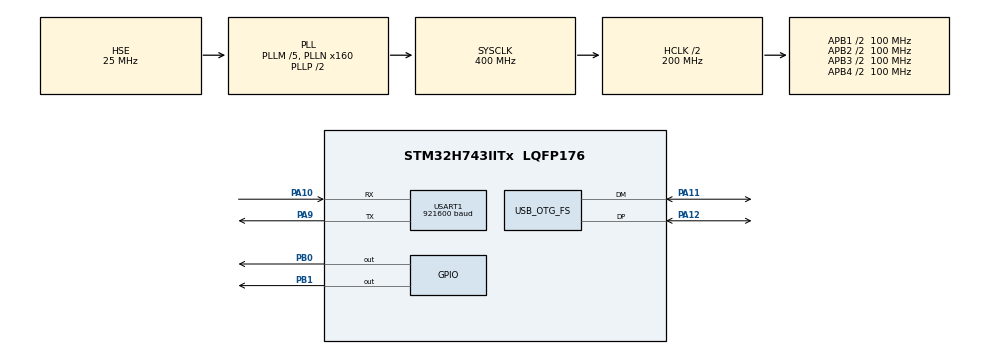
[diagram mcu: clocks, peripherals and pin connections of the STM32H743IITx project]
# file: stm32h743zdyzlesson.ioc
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CORTEX_M7.CPU_DCache=Enabled
CORTEX_M7.CPU_ICache=Enabled
CORTEX_M7.Enable_S-Cortex_Memory_Protection_Unit_Region1_Settings_S=__NULL
CORTEX_M7.Enable_S-Cortex_Memory_Protection_Unit_Region2_Settings_S=__NULL
CORTEX_M7.default_mode_Activation=1
Mcu.Family=STM32H7
Mcu.Name=STM32H743IITx
Mcu.Package=LQFP176
NVIC.OTG_FS_IRQn=true\:1\:0\:true\:false\:true\:true\:true\:true
NVIC.PriorityGroup=NVIC_PRIORITYGROUP_4
NVIC.USART1_IRQn=true\:0\:0\:false\:false\:true\:true\:true\:true
PA10.Mode=Asynchronous
PA10.Signal=USART1_RX
PA11.Mode=Device_Only
PA11.Signal=USB_OTG_FS_DM
PA12.Mode=Device_Only
PA12.Signal=USB_OTG_FS_DP
PA13\ (JTMS/SWDIO).Mode=Serial_Wire
PA13\ (JTMS/SWDIO).Signal=DEBUG_JTMS-SWDIO
PA14\ (JTCK/SWCLK).Mode=Serial_Wire
PA14\ (JTCK/SWCLK).Signal=DEBUG_JTCK-SWCLK
PA9.Mode=Asynchronous
PA9.Signal=USART1_TX
PB0.PinState=GPIO_PIN_SET
PB0.Signal=GPIO_Output
PB1.Signal=GPIO_Output
PH0-OSC_IN\ (PH0).Mode=HSE-External-Oscillator
PH0-OSC_IN\ (PH0).Signal=RCC_OSC_IN
PH1-OSC_OUT\ (PH1).Mode=HSE-External-Oscillator
PH1-OSC_OUT\ (PH1).Signal=RCC_OSC_OUT
ProjectManager.HeapSize=0x800
ProjectManager.StackSize=0x800
ProjectManager.TargetToolchain=MDK-ARM V5.32
RCC.ADCFreq_Value=50390625
RCC.APB1Freq_Value=100000000
RCC.APB2Freq_Value=100000000
RCC.APB3Freq_Value=100000000
RCC.APB4Freq_Value=100000000
RCC.CortexFreq_Value=400000000
RCC.D1PPRE=RCC_APB3_DIV2
RCC.D2PPRE1=RCC_APB1_DIV2
RCC.D2PPRE2=RCC_APB2_DIV2
RCC.D3PPRE=RCC_APB4_DIV2
RCC.DIVM1=5
RCC.DIVM3=25
RCC.DIVN1=160
RCC.DIVN3=192
RCC.DIVQ3=4
RCC.DIVR3=1
RCC.HCLKFreq_Value=200000000
RCC.HPRE=RCC_HCLK_DIV2
RCC.PLL2FRACN=0
RCC.PLL3FRACN=0
RCC.PLLFRACN=0
RCC.SYSCLKFreq_VALUE=400000000
RCC.SYSCLKSource=RCC_SYSCLKSOURCE_PLLCLK
RCC.USBCLockSelection=RCC_USBCLKSOURCE_PLL3
RCC.USBFreq_Value=48000000
USART1.BaudRate=921600
USART1.VirtualMode-Asynchronous=VM_ASYNC
USB_DEVICE.CLASS_NAME_FS=DFU
USB_DEVICE.USBD_DEBUG_LEVEL-DFU_FS=3
USB_DEVICE.USBD_DFU_APP_DEFAULT_ADD-DFU_FS=0x08020000
USB_DEVICE.USBD_DFU_MEDIA-DFU_FS=@Internal Flash   /0x08000000/01*128Ka,07*128Kg,08*128Kg
USB_DEVICE.VirtualMode-DFU_FS=Dfu
USB_DEVICE.VirtualModeFS=Dfu_FS
USB_OTG_FS.VirtualMode=Device_Only
VP_USB_DEVICE_VS_USB_DEVICE_DFU_FS.Mode=DFU_FS
board=custom

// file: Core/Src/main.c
/* USER CODE BEGIN Header */
/**
  ******************************************************************************
  * @file           : main.c
  * @brief          : Main program body
  ******************************************************************************
  * @attention
  *
  * Copyright (c) 2024 STMicroelectronics.
  * All rights reserved.
  *
  * This software is licensed under terms that can be found in the LICENSE file
  * in the root directory of this software component.
  * If no LICENSE file comes with this software, it is provided AS-IS.
  *
  ******************************************************************************
  */
/* USER CODE END Header */
#include "main.h"
#include "usb_device.h"

/* USER CODE BEGIN Includes */
#include "stdio.h"
#include "stm32h7xx_hal_flash.h"

/* USER CODE END Includes */

/* USER CODE BEGIN PTD */
typedef struct __FILE {
    int handle;
} FILE;

extern FILE __stdout;

void _sys_exit(int x);
int fputc(int ch, FILE *f);

/* USER CODE END PTD */

UART_HandleTypeDef huart1;

void SystemClock_Config(void);
static void MPU_Config(void);
static void MX_GPIO_Init(void);
static void MX_USART1_UART_Init(void);
/* USER CODE BEGIN PFP */
#define Write_Through() (*(__IO uint32_t*)0XE000EF9C=1UL<<2) //Cache͸дģʽ
/* USER CODE END PFP */

/* USER CODE BEGIN 0 */

FILE __stdout;

void _sys_exit(int x){
    x = x;
}

int fputc(int ch, FILE *f){
    HAL_UART_Transmit_IT(&huart1,(uint8_t *)&ch,1);
    while(__HAL_UART_GET_FLAG(&huart1, UART_FLAG_TC) == RESET){}
    return ch;

}
/* USER CODE END 0 */

int main(void)
{

  /* MPU Configuration--------------------------------------------------------*/
  MPU_Config();
/* Enable the CPU Cache */

  /* Enable I-Cache---------------------------------------------------------*/
  SCB_EnableICache();

  /* Enable D-Cache---------------------------------------------------------*/
  SCB_EnableDCache();

  /* MCU Configuration--------------------------------------------------------*/

  /* Reset of all peripherals, Initializes the Flash interface and the Systick. */
  HAL_Init();

  /* USER CODE BEGIN Init */
  Write_Through();
  /* USER CODE END Init */

  /* Configure the system clock */
  SystemClock_Config();

  /* Initialize all configured peripherals */
  MX_GPIO_Init();
  MX_USART1_UART_Init();
  MX_USB_DEVICE_Init();
  /* USER CODE BEGIN 2 */
  printf("USB bootloader test\r\n");
  /* USER CODE END 2 */

  /* Infinite loop */
  while (1)
  {

  }
}

void SystemClock_Config(void)
{
  RCC_OscInitTypeDef RCC_OscInitStruct = {0};
  RCC_ClkInitTypeDef RCC_ClkInitStruct = {0};

  /** Supply configuration update enable
  */
  HAL_PWREx_ConfigSupply(PWR_LDO_SUPPLY);

  /** Configure the main internal regulator output voltage
  */
  __HAL_PWR_VOLTAGESCALING_CONFIG(PWR_REGULATOR_VOLTAGE_SCALE1);

  while(!__HAL_PWR_GET_FLAG(PWR_FLAG_VOSRDY)) {}

  /** Initializes the RCC Oscillators according to the specified parameters
  * in the RCC_OscInitTypeDef structure.
  */
  RCC_OscInitStruct.OscillatorType = RCC_OSCILLATORTYPE_HSE;
  RCC_OscInitStruct.HSEState = RCC_HSE_ON;
  RCC_OscInitStruct.PLL.PLLState = RCC_PLL_ON;
  RCC_OscInitStruct.PLL.PLLSource = RCC_PLLSOURCE_HSE;
  RCC_OscInitStruct.PLL.PLLM = 5;
  RCC_OscInitStruct.PLL.PLLN = 160;
  RCC_OscInitStruct.PLL.PLLP = 2;
  RCC_OscInitStruct.PLL.PLLQ = 2;
  RCC_OscInitStruct.PLL.PLLR = 2;
  RCC_OscInitStruct.PLL.PLLRGE = RCC_PLL1VCIRANGE_2;
  RCC_OscInitStruct.PLL.PLLVCOSEL = RCC_PLL1VCOWIDE;
  RCC_OscInitStruct.PLL.PLLFRACN = 0;
  if (HAL_RCC_OscConfig(&RCC_OscInitStruct) != HAL_OK)
  {
    Error_Handler();
  }

  /** Initializes the CPU, AHB and APB buses clocks
  */
  RCC_ClkInitStruct.ClockType = RCC_CLOCKTYPE_HCLK|RCC_CLOCKTYPE_SYSCLK
                              |RCC_CLOCKTYPE_PCLK1|RCC_CLOCKTYPE_PCLK2
                              |RCC_CLOCKTYPE_D3PCLK1|RCC_CLOCKTYPE_D1PCLK1;
  RCC_ClkInitStruct.SYSCLKSource = RCC_SYSCLKSOURCE_PLLCLK;
  RCC_ClkInitStruct.SYSCLKDivider = RCC_SYSCLK_DIV1;
  RCC_ClkInitStruct.AHBCLKDivider = RCC_HCLK_DIV2;
  RCC_ClkInitStruct.APB3CLKDivider = RCC_APB3_DIV2;
  RCC_ClkInitStruct.APB1CLKDivider = RCC_APB1_DIV2;
  RCC_ClkInitStruct.APB2CLKDivider = RCC_APB2_DIV2;
  RCC_ClkInitStruct.APB4CLKDivider = RCC_APB4_DIV2;

  if (HAL_RCC_ClockConfig(&RCC_ClkInitStruct, FLASH_LATENCY_2) != HAL_OK)
  {
    Error_Handler();
  }
}

static void MX_USART1_UART_Init(void)
{

  huart1.Instance = USART1;
  huart1.Init.BaudRate = 921600;
  huart1.Init.WordLength = UART_WORDLENGTH_8B;
  huart1.Init.StopBits = UART_STOPBITS_1;
  huart1.Init.Parity = UART_PARITY_NONE;
  huart1.Init.Mode = UART_MODE_TX_RX;
  huart1.Init.HwFlowCtl = UART_HWCONTROL_NONE;
  huart1.Init.OverSampling = UART_OVERSAMPLING_16;
  huart1.Init.OneBitSampling = UART_ONE_BIT_SAMPLE_DISABLE;
  huart1.Init.ClockPrescaler = UART_PRESCALER_DIV1;
  huart1.AdvancedInit.AdvFeatureInit = UART_ADVFEATURE_NO_INIT;
  if (HAL_UART_Init(&huart1) != HAL_OK)
  {
    Error_Handler();
  }
  if (HAL_UARTEx_SetTxFifoThreshold(&huart1, UART_TXFIFO_THRESHOLD_1_8) != HAL_OK)
  {
    Error_Handler();
  }
  if (HAL_UARTEx_SetRxFifoThreshold(&huart1, UART_RXFIFO_THRESHOLD_1_8) != HAL_OK)
  {
    Error_Handler();
  }
  if (HAL_UARTEx_DisableFifoMode(&huart1) != HAL_OK)
  {
    Error_Handler();
  }

}

static void MX_GPIO_Init(void)
{
  GPIO_InitTypeDef GPIO_InitStruct = {0};

  /* GPIO Ports Clock Enable */
  __HAL_RCC_GPIOH_CLK_ENABLE();
  __HAL_RCC_GPIOB_CLK_ENABLE();
  __HAL_RCC_GPIOA_CLK_ENABLE();

  /*Configure GPIO pin Output Level */
  HAL_GPIO_WritePin(GPIOB, GPIO_PIN_0, GPIO_PIN_SET);

  /*Configure GPIO pin Output Level */
  HAL_GPIO_WritePin(GPIOB, GPIO_PIN_1, GPIO_PIN_RESET);

  /*Configure GPIO pins : PB0 PB1 */
  GPIO_InitStruct.Pin = GPIO_PIN_0|GPIO_PIN_1;
  GPIO_InitStruct.Mode = GPIO_MODE_OUTPUT_PP;
  GPIO_InitStruct.Pull = GPIO_NOPULL;
  GPIO_InitStruct.Speed = GPIO_SPEED_FREQ_LOW;
  HAL_GPIO_Init(GPIOB, &GPIO_InitStruct);

}

/* MPU Configuration */

void MPU_Config(void)
{
  MPU_Region_InitTypeDef MPU_InitStruct = {0};

  /* Disables the MPU */
  HAL_MPU_Disable();

  /** Initializes and configures the Region and the memory to be protected
  */
  MPU_InitStruct.Enable = MPU_REGION_ENABLE;
  MPU_InitStruct.Number = MPU_REGION_NUMBER0;
  MPU_InitStruct.BaseAddress = 0x0;
  MPU_InitStruct.Size = MPU_REGION_SIZE_4GB;
  MPU_InitStruct.SubRegionDisable = 0x87;
  MPU_InitStruct.TypeExtField = MPU_TEX_LEVEL0;
  MPU_InitStruct.AccessPermission = MPU_REGION_NO_ACCESS;
  MPU_InitStruct.DisableExec = MPU_INSTRUCTION_ACCESS_DISABLE;
  MPU_InitStruct.IsShareable = MPU_ACCESS_SHAREABLE;
  MPU_InitStruct.IsCacheable = MPU_ACCESS_NOT_CACHEABLE;
  MPU_InitStruct.IsBufferable = MPU_ACCESS_NOT_BUFFERABLE;

  HAL_MPU_ConfigRegion(&MPU_InitStruct);
  /* Enables the MPU */
  HAL_MPU_Enable(MPU_PRIVILEGED_DEFAULT);

}

void Error_Handler(void)
{
  __disable_irq();
  while (1)
  {
  }
}
